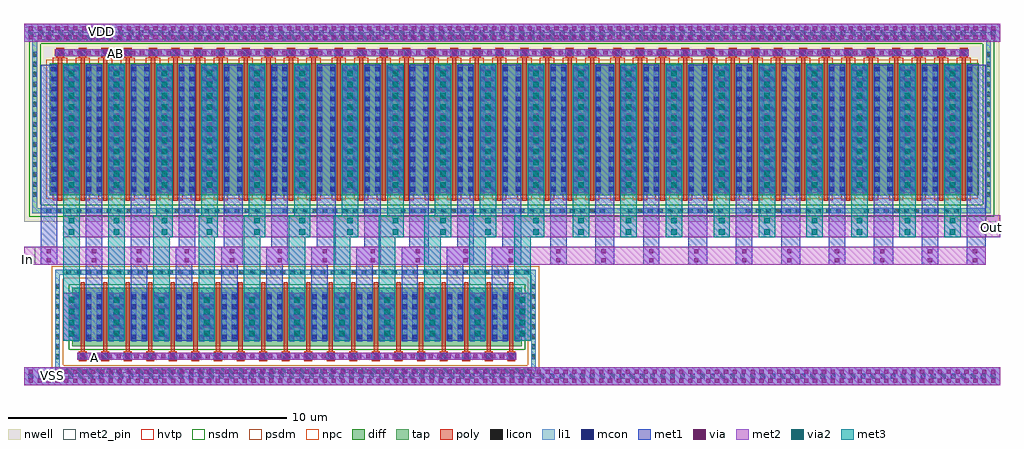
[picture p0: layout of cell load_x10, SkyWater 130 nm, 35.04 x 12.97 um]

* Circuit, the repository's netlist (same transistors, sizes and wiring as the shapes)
** sch_path: /foss/designs/RO_Aging_UNICASS/HVT/load_x10/load_x10.sch
.subckt load_x10 AB VDD Out In VSS A
*.PININFO In:B Out:B VDD:B VSS:B AB:B A:B
M1 In A Out VSS sky130_fd_pr__nfet_01v8 L=0.15 W=2.1 nf=1 ad='int((nf+1)/2) * W/nf * 0.29' as='int((nf+2)/2) * W/nf * 0.29' pd='2*int((nf+1)/2) * (W/nf + 0.29)'
+ ps='2*int((nf+2)/2) * (W/nf + 0.29)' nrd='0.29 / W' nrs='0.29 / W' sa=0 sb=0 sd=0 mult=20 m=20
M2 In AB Out VDD sky130_fd_pr__pfet_01v8_hvt L=0.15 W=4.75 nf=1 ad='int((nf+1)/2) * W/nf * 0.29' as='int((nf+2)/2) * W/nf * 0.29' pd='2*int((nf+1)/2) * (W/nf + 0.29)'
+ ps='2*int((nf+2)/2) * (W/nf + 0.29)' nrd='0.29 / W' nrs='0.29 / W' sa=0 sb=0 sd=0 mult=40 m=40
.ends
.end

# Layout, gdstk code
from math import pi, radians
import gdstk
lib = gdstk.Library(unit=1e-6, precision=1e-09)
def R(c, l, rs):  # rectangles x0, y0, x1, y1
    for r in rs: c.add(gdstk.rectangle(r[:2], r[2:], *l))
def A(c, l, x, y, w, h, nx, ny, dx, dy):  # array of equal rectangles
    R(c, l, [(x+i*dx, y+j*dy, x+i*dx+w, y+j*dy+h) for i in range(nx) for j in range(ny)])
nwell = (64, 20)
diff = (65, 20)
tap = (65, 44)
poly = (66, 20)
licon = (66, 44)
li1 = (67, 20)
mcon = (67, 44)
met1 = (68, 20)
via = (68, 44)
met2_pin = (69, 16)
met2 = (69, 20)
via2 = (69, 44)
met3 = (70, 20)
hvtp = (78, 44)
nsdm = (93, 44)
psdm = (94, 20)
npc = (95, 20)

vias_gen_9 = lib.new_cell('vias_gen$9')
R(vias_gen_9, li1, [(0,0,35.04,0.64)])
A(vias_gen_9, mcon, 0.155, 0.235, 0.17, 0.17, 97, 1, 0.36, 0)
R(vias_gen_9, met1, [(0,0,35.04,0.64)])
A(vias_gen_9, via, 0.165, 0.085, 0.15, 0.15, 109, 2, 0.32, 0.32)
R(vias_gen_9, met2, [(0,0,35.04,0.64)])

vias_gen_8 = lib.new_cell('vias_gen$8')
R(vias_gen_8, met1, [(0,0,15.76,0.26)])
A(vias_gen_8, via, 0.125, 0.055, 0.15, 0.15, 49, 1, 0.32, 0)
R(vias_gen_8, met2, [(0,0,15.76,0.26)])

pfet_1 = lib.new_cell('pfet$1')
R(pfet_1, nwell, [(-0.305,-0.38,1.055,5.47)])
R(pfet_1, diff, [(0,0,0.75,4.75)])
R(pfet_1, poly, [(0.3,-0.2,0.45,4.95), (0.24,4.95,0.51,5.28)])
A(pfet_1, licon, 0.065, 0.13, 0.17, 0.17, 1, 13, 0, 0.36)
A(pfet_1, licon, 0.515, 0.13, 0.17, 0.17, 1, 13, 0, 0.36)
R(pfet_1, licon, [(0.29,5.03,0.46,5.2)])
R(pfet_1, li1, [(0.065,0.05,0.235,4.7), (0.515,0.05,0.685,4.7), (0.21,5.03,0.54,5.2)])
A(pfet_1, mcon, 0.065, 0.13, 0.17, 0.17, 1, 13, 0, 0.36)
A(pfet_1, mcon, 0.515, 0.13, 0.17, 0.17, 1, 13, 0, 0.36)
R(pfet_1, mcon, [(0.29,5.03,0.46,5.2)])
R(pfet_1, met1, [(0.035,0.07,0.265,4.68), (0.485,0.07,0.715,4.68), (0.19,5,0.56,5.23)])
R(pfet_1, hvtp, [(0.12,-0.18,0.63,4.93)])
R(pfet_1, psdm, [(-0.125,-0.125,0.875,4.875)])
R(pfet_1, npc, [(0.23,4.94,0.52,5.29)])

vias_gen_7 = lib.new_cell('vias_gen$7')
R(vias_gen_7, met1, [(0,0,32.815,0.26)])
A(vias_gen_7, via, 0.17, 0.055, 0.15, 0.15, 102, 1, 0.32, 0)
R(vias_gen_7, met2, [(0,0,32.815,0.26)])

pfet = lib.new_cell('pfet')
R(pfet, nwell, [(-0.305,-0.38,1.055,5.47)])
R(pfet, diff, [(0,0,0.75,4.75)])
R(pfet, poly, [(0.3,-0.2,0.45,4.95), (0.24,4.95,0.51,5.28)])
A(pfet, licon, 0.065, 0.13, 0.17, 0.17, 1, 13, 0, 0.36)
A(pfet, licon, 0.515, 0.13, 0.17, 0.17, 1, 13, 0, 0.36)
R(pfet, licon, [(0.29,5.03,0.46,5.2)])
R(pfet, li1, [(0.065,0.05,0.235,4.7), (0.515,0.05,0.685,4.7), (0.21,5.03,0.54,5.2)])
A(pfet, mcon, 0.065, 0.13, 0.17, 0.17, 1, 13, 0, 0.36)
A(pfet, mcon, 0.515, 0.13, 0.17, 0.17, 1, 13, 0, 0.36)
R(pfet, mcon, [(0.29,5.03,0.46,5.2)])
R(pfet, met1, [(0.035,0.07,0.265,4.68), (0.485,0.07,0.715,4.68), (0.19,5,0.56,5.23)])
R(pfet, psdm, [(-0.125,-0.125,0.875,4.875)])
R(pfet, npc, [(0.23,4.94,0.52,5.29)])

vias_gen_5 = lib.new_cell('vias_gen$5')
R(vias_gen_5, met1, [(0,0,0.59,0.66)])
R(vias_gen_5, via, [(0.22,0.095,0.37,0.245), (0.22,0.415,0.37,0.565)])
R(vias_gen_5, met2, [(0,0,0.59,0.66)])

nfet = lib.new_cell('nfet')
R(nfet, diff, [(0,0,0.75,2.1)])
R(nfet, poly, [(0.24,-0.53,0.51,-0.2), (0.3,-0.2,0.45,2.3)])
A(nfet, licon, 0.065, 0.245, 0.17, 0.17, 1, 5, 0, 0.36)
A(nfet, licon, 0.515, 0.245, 0.17, 0.17, 1, 5, 0, 0.36)
R(nfet, licon, [(0.29,-0.45,0.46,-0.28)])
R(nfet, li1, [(0.21,-0.45,0.54,-0.28), (0.065,0.165,0.235,1.935), (0.515,0.165,0.685,1.935)])
A(nfet, mcon, 0.065, 0.245, 0.17, 0.17, 1, 5, 0, 0.36)
A(nfet, mcon, 0.515, 0.245, 0.17, 0.17, 1, 5, 0, 0.36)
R(nfet, mcon, [(0.29,-0.45,0.46,-0.28)])
R(nfet, met1, [(0.19,-0.48,0.56,-0.25), (0.035,0.185,0.265,1.915), (0.485,0.185,0.715,1.915)])
R(nfet, nsdm, [(-0.125,-0.125,0.875,2.225)])
R(nfet, npc, [(0.23,-0.54,0.52,-0.19)])

vias_gen_6 = lib.new_cell('vias_gen$6')
R(vias_gen_6, met1, [(0,0,4.61,0.59)])
A(vias_gen_6, via, 0.15, 0.22, 0.15, 0.15, 14, 1, 0.32, 0)
R(vias_gen_6, met2, [(0,0,4.61,0.59)])
A(vias_gen_6, via2, 0.205, 0.195, 0.2, 0.2, 11, 1, 0.4, 0)
R(vias_gen_6, met3, [(0,0,4.61,0.59)])

vias_gen_2 = lib.new_cell('vias_gen$2')
R(vias_gen_2, met1, [(0,0,1.73,0.59)])
A(vias_gen_2, via, 0.15, 0.22, 0.15, 0.15, 5, 1, 0.32, 0)
R(vias_gen_2, met2, [(0,0,1.73,0.59)])
A(vias_gen_2, via2, 0.165, 0.195, 0.2, 0.2, 4, 1, 0.4, 0)
R(vias_gen_2, met3, [(0,0,1.73,0.59)])

vias_gen = lib.new_cell('vias_gen')
R(vias_gen, met2, [(0,0,0.59,0.8)])
R(vias_gen, via2, [(0.195,0.1,0.395,0.3), (0.195,0.5,0.395,0.7)])
R(vias_gen, met3, [(0,0,0.59,0.8)])

load_x10 = lib.new_cell('load_x10')
R(load_x10, nwell, [(4.425,0.735,8.965,7.715), (4.425,0.735,39.44,7.715), (38.96,0.735,39.44,7.715)])
A(load_x10, diff, 6.095, 1.68, 0.155, 4.75, 4, 1, 0.81, 0)
A(load_x10, diff, 9.43, 1.68, 0.155, 4.75, 4, 1, 0.81, 0)
A(load_x10, diff, 12.765, 1.68, 0.155, 4.75, 4, 1, 0.81, 0)
A(load_x10, diff, 16.1, 1.68, 0.155, 4.75, 4, 1, 0.81, 0)
A(load_x10, diff, 22.77, 1.68, 0.155, 4.75, 4, 1, 0.81, 0)
A(load_x10, diff, 26.105, 1.68, 0.155, 4.75, 4, 1, 0.81, 0)
A(load_x10, diff, 29.44, 1.68, 0.155, 4.75, 4, 1, 0.81, 0)
R(load_x10, diff, [(6.905,-3.735,6.965,-1.635), (7.715,-3.735,7.775,-1.635), (7.715,-3.735,7.775,-1.635), (8.525,-3.735,8.585,-1.635), (8.525,-3.735,8.585,-1.635), (9.335,-3.735,9.395,-1.635), (9.335,-3.735,9.395,-1.635), (10.145,-3.735,10.205,-1.635), (10.145,-3.735,10.205,-1.635), (10.955,-3.735,11.015,-1.635), (10.955,-3.735,11.015,-1.635), (11.765,-3.735,11.825,-1.635), (11.765,-3.735,11.825,-1.635), (12.575,-3.735,12.635,-1.635), (12.575,-3.735,12.635,-1.635), (13.385,-3.735,13.445,-1.635), (13.385,-3.735,13.445,-1.635), (14.195,-3.735,14.255,-1.635), (14.195,-3.735,14.255,-1.635), (15.005,-3.735,15.065,-1.635), (15.005,-3.735,15.065,-1.635), (15.815,-3.735,15.875,-1.635), (15.815,-3.735,15.875,-1.635), (16.625,-3.735,16.685,-1.635), (16.625,-3.735,16.685,-1.635), (17.435,-3.735,17.495,-1.635), (17.435,-3.735,17.495,-1.635), (18.245,-3.735,18.305,-1.635), (18.245,-3.735,18.305,-1.635), (19.055,-3.735,19.115,-1.635), (19.055,-3.735,19.115,-1.635), (19.055,-3.735,19.115,-1.635), (19.055,-3.735,19.115,-1.635), (19.865,-3.735,19.925,-1.635), (19.865,-3.735,19.925,-1.635), (19.865,-3.735,19.925,-1.635), (19.865,-3.735,19.925,-1.635), (20.675,-3.735,20.735,-1.635), (20.675,-3.735,20.735,-1.635), (20.675,-3.735,20.735,-1.635), (20.675,-3.735,20.735,-1.635), (21.485,-3.735,21.545,-1.635), (21.485,-3.735,21.545,-1.635), (21.485,-3.735,21.545,-1.635), (21.485,-3.735,21.545,-1.635), (18.53,1.68,18.685,6.43), (18.53,1.68,18.685,6.43), (18.53,1.68,18.685,6.43), (19.435,1.68,19.59,6.43), (19.435,1.68,19.59,6.43), (19.435,1.68,19.59,6.43), (19.435,1.68,19.59,6.43), (20.245,1.68,20.4,6.43), (20.245,1.68,20.4,6.43), (20.245,1.68,20.4,6.43), (20.245,1.68,20.4,6.43), (21.055,1.68,21.21,6.43), (21.055,1.68,21.21,6.43), (21.055,1.68,21.21,6.43), (21.055,1.68,21.21,6.43), (21.865,1.68,22.02,6.43), (21.865,1.68,22.02,6.43), (21.865,1.68,22.02,6.43), (21.865,1.68,22.02,6.43), (31.87,1.68,32.025,6.43), (31.87,1.68,32.025,6.43), (31.87,1.68,32.025,6.43), (32.775,1.68,32.93,6.43), (32.775,1.68,32.93,6.43), (32.775,1.68,32.93,6.43), (32.775,1.68,32.93,6.43), (33.585,1.68,33.74,6.43), (33.585,1.68,33.74,6.43), (33.585,1.68,33.74,6.43), (33.585,1.68,33.74,6.43), (34.395,1.68,34.55,6.43), (34.395,1.68,34.55,6.43), (34.395,1.68,34.55,6.43), (34.395,1.68,34.55,6.43), (35.205,1.68,35.36,6.43), (35.205,1.68,35.36,6.43), (35.205,1.68,35.36,6.43), (35.205,1.68,35.36,6.43), (35.205,1.68,35.36,6.43), (35.205,1.68,35.36,6.43), (35.205,1.68,35.36,6.43), (35.205,1.68,35.36,6.43), (36.11,1.68,36.265,6.43), (36.11,1.68,36.265,6.43), (36.11,1.68,36.265,6.43), (36.11,1.68,36.265,6.43), (36.92,1.68,37.075,6.43), (36.92,1.68,37.075,6.43), (36.92,1.68,37.075,6.43), (36.92,1.68,37.075,6.43), (37.73,1.68,37.885,6.43), (37.73,1.68,37.885,6.43), (37.73,1.68,37.885,6.43), (37.73,1.68,37.885,6.43), (38.54,1.68,38.695,6.43), (38.54,1.68,38.695,6.43), (38.54,1.68,38.695,6.43), (38.54,1.68,38.695,6.43)])
A(load_x10, tap, 5.71, -4.715, 2.45, 0.17, 4, 2, 2.2, 3.55)
A(load_x10, tap, 13.75, -4.715, 2.45, 0.17, 4, 2, 2.2, 3.55)
A(load_x10, tap, 4.73, 1.04, 4.24, 0.17, 4, 2, 4.24, 6.2)
A(load_x10, tap, 4.9, 1.04, 3.59, 0.17, 4, 2, 4.24, 6.2)
A(load_x10, tap, 21.36, 1.04, 4.24, 0.17, 4, 2, 4.24, 6.2)
A(load_x10, tap, 21.53, 1.04, 3.59, 0.17, 4, 2, 4.24, 6.2)
R(load_x10, tap, [(5.54,-4.715,5.71,-0.995), (5.71,-4.715,8.16,-4.545), (22.63,-4.715,22.8,-0.995), (4.73,1.04,4.9,7.24), (34.08,1.04,38.32,1.21), (34.25,1.04,37.84,1.21), (38.32,1.04,38.965,1.21), (38.965,1.04,39.135,7.24), (4.73,7.24,9.14,7.41), (34.08,7.24,38.32,7.41), (34.25,7.24,37.84,7.41), (38.32,7.24,38.965,7.41)])
A(load_x10, licon, 8.15, -4.715, 0.17, 0.17, 6, 2, 0.36, 3.55)
A(load_x10, licon, 10.35, -4.715, 0.17, 0.17, 6, 2, 0.36, 3.55)
A(load_x10, licon, 12.55, -4.715, 0.17, 0.17, 5, 2, 0.36, 3.55)
A(load_x10, licon, 14.35, -4.715, 0.17, 0.17, 5, 2, 0.36, 3.55)
A(load_x10, licon, 16.19, -4.715, 0.17, 0.17, 6, 2, 0.36, 3.55)
A(load_x10, licon, 18.39, -4.715, 0.17, 0.17, 6, 2, 0.36, 3.55)
A(load_x10, licon, 20.59, -4.715, 0.17, 0.17, 6, 2, 0.36, 3.55)
A(load_x10, licon, 5.54, -4.2, 0.17, 0.17, 1, 8, 0, 0.36)
A(load_x10, licon, 22.63, -4.2, 0.17, 0.17, 1, 8, 0, 0.36)
A(load_x10, licon, 5.95, -1.165, 0.17, 0.17, 6, 1, 0.36, 0)
A(load_x10, licon, 5.23, 1.04, 0.17, 0.17, 10, 1, 0.36, 0)
A(load_x10, licon, 9.47, 1.04, 0.17, 0.17, 10, 2, 0.36, 6.2)
A(load_x10, licon, 13.71, 1.04, 0.17, 0.17, 10, 2, 0.36, 6.2)
A(load_x10, licon, 17.95, 1.04, 0.17, 0.17, 10, 2, 0.36, 6.2)
A(load_x10, licon, 21.86, 1.04, 0.17, 0.17, 10, 2, 0.36, 6.2)
A(load_x10, licon, 26.1, 1.04, 0.17, 0.17, 10, 2, 0.36, 6.2)
A(load_x10, licon, 30.34, 1.04, 0.17, 0.17, 10, 2, 0.36, 6.2)
A(load_x10, licon, 4.73, 1.62, 0.17, 0.17, 1, 15, 0, 0.36)
A(load_x10, licon, 38.965, 1.62, 0.17, 0.17, 1, 15, 0, 0.36)
R(load_x10, licon, [(5.95,-4.715,6.12,-4.545), (5.95,-4.715,6.12,-4.545), (6.31,-4.715,6.48,-4.545), (6.31,-4.715,6.48,-4.545), (6.67,-4.715,6.84,-4.545), (6.67,-4.715,6.84,-4.545), (7.03,-4.715,7.2,-4.545), (7.03,-4.715,7.2,-4.545), (7.39,-4.715,7.56,-4.545), (7.39,-4.715,7.56,-4.545), (7.75,-4.715,7.92,-4.545), (7.75,-4.715,7.92,-4.545), (13.99,-4.715,14.16,-4.545), (14.35,-4.715,14.52,-4.545), (13.99,-1.165,14.16,-0.995), (14.35,-1.165,14.52,-0.995), (34.58,1.04,34.75,1.21), (34.58,1.04,34.75,1.21), (34.94,1.04,35.11,1.21), (34.94,1.04,35.11,1.21), (35.3,1.04,35.47,1.21), (35.3,1.04,35.47,1.21), (35.66,1.04,35.83,1.21), (35.66,1.04,35.83,1.21), (36.02,1.04,36.19,1.21), (36.02,1.04,36.19,1.21), (36.38,1.04,36.55,1.21), (36.38,1.04,36.55,1.21), (36.74,1.04,36.91,1.21), (36.74,1.04,36.91,1.21), (37.1,1.04,37.27,1.21), (37.1,1.04,37.27,1.21), (37.46,1.04,37.63,1.21), (37.46,1.04,37.63,1.21), (37.82,1.04,37.99,1.21), (37.82,1.04,37.99,1.21), (5.23,7.24,5.4,7.41), (5.23,7.24,5.4,7.41), (5.59,7.24,5.76,7.41), (5.59,7.24,5.76,7.41), (5.95,7.24,6.12,7.41), (5.95,7.24,6.12,7.41), (6.31,7.24,6.48,7.41), (6.31,7.24,6.48,7.41), (6.67,7.24,6.84,7.41), (6.67,7.24,6.84,7.41), (7.03,7.24,7.2,7.41), (7.03,7.24,7.2,7.41), (7.39,7.24,7.56,7.41), (7.39,7.24,7.56,7.41), (7.75,7.24,7.92,7.41), (7.75,7.24,7.92,7.41), (8.11,7.24,8.28,7.41), (8.11,7.24,8.28,7.41), (8.47,7.24,8.64,7.41), (8.47,7.24,8.64,7.41), (34.58,7.24,34.75,7.41), (34.58,7.24,34.75,7.41), (34.94,7.24,35.11,7.41), (34.94,7.24,35.11,7.41), (35.3,7.24,35.47,7.41), (35.3,7.24,35.47,7.41), (35.66,7.24,35.83,7.41), (35.66,7.24,35.83,7.41), (36.02,7.24,36.19,7.41), (36.02,7.24,36.19,7.41), (36.38,7.24,36.55,7.41), (36.38,7.24,36.55,7.41), (36.74,7.24,36.91,7.41), (36.74,7.24,36.91,7.41), (37.1,7.24,37.27,7.41), (37.1,7.24,37.27,7.41), (37.46,7.24,37.63,7.41), (37.46,7.24,37.63,7.41), (37.82,7.24,37.99,7.41), (37.82,7.24,37.99,7.41)])
A(load_x10, li1, 5.71, -4.715, 2.45, 0.17, 4, 2, 2.2, 3.55)
A(load_x10, li1, 13.75, -4.715, 2.45, 0.17, 4, 2, 2.2, 3.55)
A(load_x10, li1, 4.73, 1.04, 4.24, 0.17, 4, 2, 4.24, 6.2)
A(load_x10, li1, 21.36, 1.04, 4.24, 0.17, 4, 2, 4.24, 6.2)
R(load_x10, li1, [(5.54,-4.715,5.71,-0.995), (5.71,-4.715,8.16,-4.545), (22.63,-4.715,22.8,-0.995), (4.73,1.04,4.9,7.24), (34.08,1.04,38.32,1.21), (38.32,1.04,39.135,1.21), (38.965,1.04,39.135,7.24), (4.73,7.24,9.14,7.41), (34.08,7.24,38.32,7.41), (38.32,7.24,39.135,7.41)])
A(load_x10, met1, 8.26, -1.82, 0.59, 1.66, 9, 1, 1.62, 0)
A(load_x10, met1, 8.26, -0.82, 0.685, 2.57, 10, 1, 3.335, 0)
A(load_x10, met1, 18.265, -0.82, 0.455, 2.57, 7, 1, 3.335, 0)
A(load_x10, met1, 16.645, -0.16, 0.59, 1.91, 7, 1, 3.335, 0)
A(load_x10, met1, 6.06, 1.75, 0.13, 4.61, 3, 1, 0.81, 0)
A(load_x10, met1, 9.395, 1.75, 0.13, 4.61, 3, 1, 0.81, 0)
A(load_x10, met1, 12.73, 1.75, 0.13, 4.61, 3, 1, 0.81, 0)
A(load_x10, met1, 16.065, 1.75, 0.13, 4.61, 3, 1, 0.81, 0)
A(load_x10, met1, 22.735, 1.75, 0.13, 4.61, 3, 1, 0.81, 0)
A(load_x10, met1, 26.07, 1.75, 0.13, 4.61, 3, 1, 0.81, 0)
A(load_x10, met1, 29.405, 1.75, 0.13, 4.61, 3, 1, 0.81, 0)
R(load_x10, met1, [(6.345,-4.215,22.105,-3.985), (6.87,-3.55,7,-1.82), (8.49,-3.55,8.62,-1.82), (8.49,-3.55,8.62,-1.82), (10.11,-3.55,10.24,-1.82), (10.11,-3.55,10.24,-1.82), (11.73,-3.55,11.86,-1.82), (11.73,-3.55,11.86,-1.82), (13.35,-3.55,13.48,-1.82), (13.35,-3.55,13.48,-1.82), (14.97,-3.55,15.1,-1.82), (14.97,-3.55,15.1,-1.82), (16.59,-3.55,16.72,-1.82), (16.59,-3.55,16.72,-1.82), (18.21,-3.55,18.34,-1.82), (18.21,-3.55,18.34,-1.82), (19.83,-3.55,19.96,-1.82), (19.83,-3.55,19.96,-1.82), (19.83,-3.55,19.96,-1.82), (19.83,-3.55,19.96,-1.82), (21.45,-3.55,21.58,-1.82), (21.45,-3.55,21.58,-1.82), (21.45,-3.55,21.58,-1.82), (21.45,-3.55,21.58,-1.82), (6.64,-1.82,7.23,-0.16), (8.26,-1.82,8.85,-0.16), (5.02,-0.82,5.165,-0.16), (8.26,-0.82,8.715,1.75), (13.31,-0.82,13.765,1.75), (13.31,-0.82,13.9,1.75), (5.02,-0.16,5.61,1.75), (5.155,-0.16,5.61,1.75), (6.64,-0.16,7.23,1.75), (9.975,-0.16,10.565,1.75), (11.595,-0.16,12.185,1.75), (14.93,-0.16,15.52,1.75), (5.02,1.75,5.61,6.36), (5.155,1.75,5.61,6.36), (8.26,1.75,8.715,6.36), (8.49,1.75,8.945,6.36), (11.595,1.75,12.05,6.36), (11.825,1.75,12.28,6.36), (14.93,1.75,15.385,6.36), (15.16,1.75,15.615,6.36), (18.265,1.75,18.72,6.36), (18.495,1.75,18.95,6.36), (18.495,1.75,18.95,6.36), (18.495,1.75,18.95,6.36), (18.495,1.75,18.95,6.36), (19.4,1.75,19.53,6.36), (19.4,1.75,19.53,6.36), (19.4,1.75,19.53,6.36), (19.4,1.75,19.53,6.36), (20.21,1.75,20.34,6.36), (20.21,1.75,20.34,6.36), (20.21,1.75,20.34,6.36), (20.21,1.75,20.34,6.36), (21.02,1.75,21.15,6.36), (21.02,1.75,21.15,6.36), (21.02,1.75,21.15,6.36), (21.02,1.75,21.15,6.36), (21.6,1.75,22.055,6.36), (21.6,1.75,22.055,6.36), (21.6,1.75,22.055,6.36), (21.6,1.75,22.055,6.36), (21.83,1.75,22.285,6.36), (24.935,1.75,25.39,6.36), (25.165,1.75,25.62,6.36), (28.27,1.75,28.725,6.36), (28.5,1.75,28.955,6.36), (31.605,1.75,32.06,6.36), (31.835,1.75,32.29,6.36), (31.835,1.75,32.29,6.36), (31.835,1.75,32.29,6.36), (31.835,1.75,32.29,6.36), (32.74,1.75,32.87,6.36), (32.74,1.75,32.87,6.36), (32.74,1.75,32.87,6.36), (32.74,1.75,32.87,6.36), (33.55,1.75,33.68,6.36), (33.55,1.75,33.68,6.36), (33.55,1.75,33.68,6.36), (33.55,1.75,33.68,6.36), (34.36,1.75,34.49,6.36), (34.36,1.75,34.49,6.36), (34.36,1.75,34.49,6.36), (34.36,1.75,34.49,6.36), (34.94,1.75,35.395,6.36), (34.94,1.75,35.395,6.36), (34.94,1.75,35.395,6.36), (34.94,1.75,35.395,6.36), (34.94,1.75,35.395,6.36), (35.17,1.75,35.625,6.36), (35.17,1.75,35.625,6.36), (35.17,1.75,35.625,6.36), (35.17,1.75,35.625,6.36), (36.075,1.75,36.205,6.36), (36.075,1.75,36.205,6.36), (36.075,1.75,36.205,6.36), (36.075,1.75,36.205,6.36), (36.885,1.75,37.015,6.36), (36.885,1.75,37.015,6.36), (36.885,1.75,37.015,6.36), (36.885,1.75,37.015,6.36), (37.695,1.75,37.825,6.36), (37.695,1.75,37.825,6.36), (37.695,1.75,37.825,6.36), (37.695,1.75,37.825,6.36), (38.275,1.75,38.73,6.36), (38.275,1.75,38.73,6.36), (38.275,1.75,38.73,6.36), (38.275,1.75,38.73,6.36), (38.695,1.75,38.96,6.36), (5.535,6.68,38.35,6.91)])
R(load_x10, met2_pin, [(4.425,-5.135,39.465,-4.495), (6.345,-4.23,22.105,-3.97), (4.425,-0.82,4.835,-0.16), (38.96,0.17,39.465,0.97), (5.535,6.665,38.35,6.925), (4.425,7.195,39.465,7.835)])
R(load_x10, met2, [(4.425,-0.82,8.26,-0.16), (4.425,-0.82,38.96,-0.16), (5.83,0.17,9.445,0.97), (9.17,0.17,12.785,0.97), (12.5,0.17,16.115,0.97), (15.84,0.17,19.455,0.97), (19.17,0.17,22.785,0.97), (22.51,0.17,26.125,0.97), (25.84,0.17,29.455,0.97), (29.18,0.17,32.795,0.97), (32.51,0.17,36.125,0.97), (35.85,0.17,39.465,0.97)])
A(load_x10, met3, 7.45, -2.16, 0.59, 2.33, 4, 1, 3.24, 0)
A(load_x10, met3, 7.45, -1.875, 0.59, 2.845, 10, 1, 1.62, 0)
R(load_x10, met3, [(5.83,-2.16,6.42,0.17), (7.45,-2.16,8.04,0.17), (5.83,0.97,6.42,2.09), (7.45,0.97,8.04,2.09), (9.17,0.97,9.76,2.09), (9.17,0.97,9.76,2.09), (10.79,0.97,11.38,2.09), (10.79,0.97,11.38,2.09), (12.5,0.97,13.09,2.09), (14.12,0.97,14.71,2.09), (15.84,0.97,16.43,2.09), (15.84,0.97,16.43,2.09), (17.46,0.97,18.05,2.09), (17.46,0.97,18.05,2.09), (19.17,0.97,19.76,2.09), (20.79,0.97,21.38,2.09), (22.51,0.97,23.1,2.09), (22.51,0.97,23.1,2.09), (24.13,0.97,24.72,2.09), (24.13,0.97,24.72,2.09), (25.84,0.97,26.43,2.09), (27.46,0.97,28.05,2.09), (29.18,0.97,29.77,2.09), (29.18,0.97,29.77,2.09), (30.8,0.97,31.39,2.09), (30.8,0.97,31.39,2.09), (32.51,0.97,33.1,2.09), (34.13,0.97,34.72,2.09), (35.85,0.97,36.44,2.09), (35.85,0.97,36.44,2.09), (37.47,0.97,38.06,2.09), (37.47,0.97,38.06,2.09)])
A(load_x10, nsdm, 4.605, 0.915, 4.665, 0.42, 4, 2, 4.24, 6.2)
A(load_x10, nsdm, 21.235, 0.915, 4.665, 0.42, 4, 2, 4.24, 6.2)
R(load_x10, nsdm, [(33.955,0.915,38.62,1.335), (38.62,0.915,39.265,1.335), (4.605,1.335,5.025,7.115), (38.845,1.335,39.265,7.115), (4.605,7.115,9.27,7.535), (33.955,7.115,38.62,7.535), (38.62,7.115,39.265,7.535)])
A(load_x10, psdm, 5.835, -4.84, 2.2, 0.42, 4, 2, 2.2, 3.55)
A(load_x10, psdm, 13.875, -4.84, 2.2, 0.42, 4, 2, 2.2, 3.55)
R(load_x10, psdm, [(5.415,-4.84,5.835,-0.87), (5.835,-4.84,8.035,-4.42), (22.505,-4.84,22.925,-0.87)])
load_x10.add(gdstk.Reference(vias_gen_9, (4.425,-5.135)))
load_x10.add(gdstk.Reference(vias_gen_8, (6.345,-4.23)))
load_x10.add(gdstk.Reference(vias_gen_9, (4.425,7.195)))
load_x10.add(gdstk.Reference(pfet_1, (8.525,1.68), rotation=pi, x_reflection=True))
load_x10.add(gdstk.Reference(pfet_1, (7.715,1.68), rotation=pi, x_reflection=True))
load_x10.add(gdstk.Reference(pfet_1, (6.905,1.68), rotation=pi, x_reflection=True))
load_x10.add(gdstk.Reference(pfet_1, (6.095,1.68), rotation=pi, x_reflection=True))
load_x10.add(gdstk.Reference(vias_gen_7, (5.535,6.665)))
load_x10.add(gdstk.Reference(pfet_1, (11.86,1.68), rotation=pi, x_reflection=True))
load_x10.add(gdstk.Reference(pfet_1, (11.05,1.68), rotation=pi, x_reflection=True))
load_x10.add(gdstk.Reference(pfet_1, (10.24,1.68), rotation=pi, x_reflection=True))
load_x10.add(gdstk.Reference(pfet_1, (9.43,1.68), rotation=pi, x_reflection=True))
load_x10.add(gdstk.Reference(pfet_1, (15.195,1.68), rotation=pi, x_reflection=True))
load_x10.add(gdstk.Reference(pfet_1, (14.385,1.68), rotation=pi, x_reflection=True))
load_x10.add(gdstk.Reference(pfet_1, (13.575,1.68), rotation=pi, x_reflection=True))
load_x10.add(gdstk.Reference(pfet_1, (12.765,1.68), rotation=pi, x_reflection=True))
load_x10.add(gdstk.Reference(pfet_1, (18.53,1.68), rotation=pi, x_reflection=True))
load_x10.add(gdstk.Reference(pfet_1, (17.72,1.68), rotation=pi, x_reflection=True))
load_x10.add(gdstk.Reference(pfet_1, (16.91,1.68), rotation=pi, x_reflection=True))
load_x10.add(gdstk.Reference(pfet_1, (16.1,1.68), rotation=pi, x_reflection=True))
load_x10.add(gdstk.Reference(pfet, (21.865,1.68), rotation=pi, x_reflection=True))
load_x10.add(gdstk.Reference(pfet, (21.055,1.68), rotation=pi, x_reflection=True))
load_x10.add(gdstk.Reference(pfet, (20.245,1.68), rotation=pi, x_reflection=True))
load_x10.add(gdstk.Reference(pfet_1, (19.435,1.68), rotation=pi, x_reflection=True))
load_x10.add(gdstk.Reference(pfet, (20.245,1.68), rotation=pi, x_reflection=True))
load_x10.add(gdstk.Reference(pfet, (21.055,1.68), rotation=pi, x_reflection=True))
load_x10.add(gdstk.Reference(pfet, (21.865,1.68), rotation=pi, x_reflection=True))
load_x10.add(gdstk.Reference(pfet, (21.865,1.68), rotation=pi, x_reflection=True))
load_x10.add(gdstk.Reference(pfet, (21.055,1.68), rotation=pi, x_reflection=True))
load_x10.add(gdstk.Reference(pfet, (20.245,1.68), rotation=pi, x_reflection=True))
load_x10.add(gdstk.Reference(pfet_1, (20.245,1.68), rotation=pi, x_reflection=True))
load_x10.add(gdstk.Reference(pfet_1, (21.055,1.68), rotation=pi, x_reflection=True))
load_x10.add(gdstk.Reference(pfet_1, (21.865,1.68), rotation=pi, x_reflection=True))
load_x10.add(gdstk.Reference(pfet_1, (25.2,1.68), rotation=pi, x_reflection=True))
load_x10.add(gdstk.Reference(pfet_1, (24.39,1.68), rotation=pi, x_reflection=True))
load_x10.add(gdstk.Reference(pfet_1, (23.58,1.68), rotation=pi, x_reflection=True))
load_x10.add(gdstk.Reference(pfet_1, (22.77,1.68), rotation=pi, x_reflection=True))
load_x10.add(gdstk.Reference(pfet_1, (28.535,1.68), rotation=pi, x_reflection=True))
load_x10.add(gdstk.Reference(pfet_1, (27.725,1.68), rotation=pi, x_reflection=True))
load_x10.add(gdstk.Reference(pfet_1, (26.915,1.68), rotation=pi, x_reflection=True))
load_x10.add(gdstk.Reference(pfet_1, (26.105,1.68), rotation=pi, x_reflection=True))
load_x10.add(gdstk.Reference(pfet_1, (31.87,1.68), rotation=pi, x_reflection=True))
load_x10.add(gdstk.Reference(pfet_1, (31.06,1.68), rotation=pi, x_reflection=True))
load_x10.add(gdstk.Reference(pfet_1, (30.25,1.68), rotation=pi, x_reflection=True))
load_x10.add(gdstk.Reference(pfet_1, (29.44,1.68), rotation=pi, x_reflection=True))
load_x10.add(gdstk.Reference(pfet, (35.205,1.68), rotation=pi, x_reflection=True))
load_x10.add(gdstk.Reference(pfet, (34.395,1.68), rotation=pi, x_reflection=True))
load_x10.add(gdstk.Reference(pfet, (33.585,1.68), rotation=pi, x_reflection=True))
load_x10.add(gdstk.Reference(pfet_1, (32.775,1.68), rotation=pi, x_reflection=True))
load_x10.add(gdstk.Reference(pfet, (33.585,1.68), rotation=pi, x_reflection=True))
load_x10.add(gdstk.Reference(pfet, (34.395,1.68), rotation=pi, x_reflection=True))
load_x10.add(gdstk.Reference(pfet, (35.205,1.68), rotation=pi, x_reflection=True))
load_x10.add(gdstk.Reference(pfet, (35.205,1.68), rotation=pi, x_reflection=True))
load_x10.add(gdstk.Reference(pfet, (34.395,1.68), rotation=pi, x_reflection=True))
load_x10.add(gdstk.Reference(pfet, (33.585,1.68), rotation=pi, x_reflection=True))
load_x10.add(gdstk.Reference(pfet_1, (33.585,1.68), rotation=pi, x_reflection=True))
load_x10.add(gdstk.Reference(pfet_1, (34.395,1.68), rotation=pi, x_reflection=True))
load_x10.add(gdstk.Reference(pfet_1, (35.205,1.68), rotation=pi, x_reflection=True))
load_x10.add(gdstk.Reference(pfet, (38.54,1.68), rotation=pi, x_reflection=True))
load_x10.add(gdstk.Reference(pfet, (37.73,1.68), rotation=pi, x_reflection=True))
load_x10.add(gdstk.Reference(pfet, (36.92,1.68), rotation=pi, x_reflection=True))
load_x10.add(gdstk.Reference(pfet_1, (36.11,1.68), rotation=pi, x_reflection=True))
load_x10.add(gdstk.Reference(pfet, (36.92,1.68), rotation=pi, x_reflection=True))
load_x10.add(gdstk.Reference(pfet, (37.73,1.68), rotation=pi, x_reflection=True))
load_x10.add(gdstk.Reference(pfet, (38.54,1.68), rotation=pi, x_reflection=True))
load_x10.add(gdstk.Reference(pfet, (38.54,1.68), rotation=pi, x_reflection=True))
load_x10.add(gdstk.Reference(pfet, (37.73,1.68), rotation=pi, x_reflection=True))
load_x10.add(gdstk.Reference(pfet, (36.92,1.68), rotation=pi, x_reflection=True))
load_x10.add(gdstk.Reference(pfet_1, (36.92,1.68), rotation=pi, x_reflection=True))
load_x10.add(gdstk.Reference(pfet_1, (37.73,1.68), rotation=pi, x_reflection=True))
load_x10.add(gdstk.Reference(pfet_1, (38.54,1.68), rotation=pi, x_reflection=True))
load_x10.add(gdstk.Reference(vias_gen_5, (21.6,-0.82)))
load_x10.add(gdstk.Reference(nfet, (22.295,-3.735), rotation=pi, x_reflection=True))
load_x10.add(gdstk.Reference(nfet, (22.295,-3.735), rotation=pi, x_reflection=True))
load_x10.add(gdstk.Reference(nfet, (22.295,-3.735), rotation=pi, x_reflection=True))
load_x10.add(gdstk.Reference(nfet, (22.295,-3.735), rotation=pi, x_reflection=True))
load_x10.add(gdstk.Reference(vias_gen_6, (33.1,1.75), rotation=pi/2))
load_x10.add(gdstk.Reference(vias_gen_6, (29.77,1.75), rotation=pi/2))
load_x10.add(gdstk.Reference(vias_gen_6, (26.43,1.75), rotation=pi/2))
load_x10.add(gdstk.Reference(vias_gen_6, (34.72,1.75), rotation=pi/2))
load_x10.add(gdstk.Reference(vias_gen_6, (38.06,1.75), rotation=pi/2))
load_x10.add(gdstk.Reference(vias_gen_6, (36.44,1.75), rotation=pi/2))
load_x10.add(gdstk.Reference(vias_gen_6, (23.1,1.75), rotation=pi/2))
load_x10.add(gdstk.Reference(vias_gen_6, (24.72,1.75), rotation=pi/2))
load_x10.add(gdstk.Reference(vias_gen_6, (28.05,1.75), rotation=pi/2))
load_x10.add(gdstk.Reference(vias_gen_6, (31.39,1.75), rotation=pi/2))
load_x10.add(gdstk.Reference(vias_gen_6, (16.43,1.75), rotation=pi/2))
load_x10.add(gdstk.Reference(vias_gen_6, (11.38,1.75), rotation=pi/2))
load_x10.add(gdstk.Reference(vias_gen_6, (8.04,1.75), rotation=pi/2))
load_x10.add(gdstk.Reference(vias_gen_6, (9.76,1.75), rotation=pi/2))
load_x10.add(gdstk.Reference(vias_gen_6, (14.71,1.75), rotation=pi/2))
load_x10.add(gdstk.Reference(vias_gen_6, (6.42,1.75), rotation=pi/2))
load_x10.add(gdstk.Reference(vias_gen_6, (13.09,1.75), rotation=pi/2))
load_x10.add(gdstk.Reference(vias_gen_6, (19.76,1.75), rotation=pi/2))
load_x10.add(gdstk.Reference(vias_gen_6, (21.38,1.75), rotation=pi/2))
load_x10.add(gdstk.Reference(vias_gen_6, (18.05,1.75), rotation=pi/2))
load_x10.add(gdstk.Reference(nfet, (6.905,-3.735), rotation=pi, x_reflection=True))
load_x10.add(gdstk.Reference(vias_gen_2, (8.04,-3.55), rotation=pi/2))
load_x10.add(gdstk.Reference(nfet, (10.955,-3.735), rotation=pi, x_reflection=True))
load_x10.add(gdstk.Reference(nfet, (9.335,-3.735), rotation=pi, x_reflection=True))
load_x10.add(gdstk.Reference(vias_gen_2, (6.42,-3.55), rotation=pi/2))
load_x10.add(gdstk.Reference(vias_gen_2, (8.04,-3.55), rotation=pi/2))
load_x10.add(gdstk.Reference(nfet, (10.145,-3.735), rotation=pi, x_reflection=True))
load_x10.add(gdstk.Reference(vias_gen_2, (11.28,-3.55), rotation=pi/2))
load_x10.add(gdstk.Reference(vias_gen_2, (9.66,-3.55), rotation=pi/2))
load_x10.add(gdstk.Reference(vias_gen_2, (8.04,-3.55), rotation=pi/2))
load_x10.add(gdstk.Reference(nfet, (9.335,-3.735), rotation=pi, x_reflection=True))
load_x10.add(gdstk.Reference(nfet, (8.525,-3.735), rotation=pi, x_reflection=True))
load_x10.add(gdstk.Reference(vias_gen_2, (9.66,-3.55), rotation=pi/2))
load_x10.add(gdstk.Reference(vias_gen_2, (8.04,-3.55), rotation=pi/2))
load_x10.add(gdstk.Reference(nfet, (10.955,-3.735), rotation=pi, x_reflection=True))
load_x10.add(gdstk.Reference(nfet, (10.145,-3.735), rotation=pi, x_reflection=True))
load_x10.add(gdstk.Reference(vias_gen_2, (11.28,-3.55), rotation=pi/2))
load_x10.add(gdstk.Reference(vias_gen_2, (9.66,-3.55), rotation=pi/2))
load_x10.add(gdstk.Reference(vias_gen_2, (11.28,-3.55), rotation=pi/2))
load_x10.add(gdstk.Reference(nfet, (12.575,-3.735), rotation=pi, x_reflection=True))
load_x10.add(gdstk.Reference(nfet, (11.765,-3.735), rotation=pi, x_reflection=True))
load_x10.add(gdstk.Reference(vias_gen_2, (12.9,-3.55), rotation=pi/2))
load_x10.add(gdstk.Reference(vias_gen_2, (11.28,-3.55), rotation=pi/2))
load_x10.add(gdstk.Reference(nfet, (14.195,-3.735), rotation=pi, x_reflection=True))
load_x10.add(gdstk.Reference(nfet, (13.385,-3.735), rotation=pi, x_reflection=True))
load_x10.add(gdstk.Reference(vias_gen_2, (14.52,-3.55), rotation=pi/2))
load_x10.add(gdstk.Reference(vias_gen_2, (12.9,-3.55), rotation=pi/2))
load_x10.add(gdstk.Reference(vias_gen_2, (11.28,-3.55), rotation=pi/2))
load_x10.add(gdstk.Reference(nfet, (12.575,-3.735), rotation=pi, x_reflection=True))
load_x10.add(gdstk.Reference(nfet, (11.765,-3.735), rotation=pi, x_reflection=True))
load_x10.add(gdstk.Reference(vias_gen_2, (12.9,-3.55), rotation=pi/2))
load_x10.add(gdstk.Reference(vias_gen_2, (11.28,-3.55), rotation=pi/2))
load_x10.add(gdstk.Reference(nfet, (14.195,-3.735), rotation=pi, x_reflection=True))
load_x10.add(gdstk.Reference(nfet, (13.385,-3.735), rotation=pi, x_reflection=True))
load_x10.add(gdstk.Reference(vias_gen_2, (14.52,-3.55), rotation=pi/2))
load_x10.add(gdstk.Reference(vias_gen_2, (12.9,-3.55), rotation=pi/2))
load_x10.add(gdstk.Reference(vias_gen_2, (14.52,-3.55), rotation=pi/2))
load_x10.add(gdstk.Reference(nfet, (15.815,-3.735), rotation=pi, x_reflection=True))
load_x10.add(gdstk.Reference(nfet, (15.005,-3.735), rotation=pi, x_reflection=True))
load_x10.add(gdstk.Reference(vias_gen_2, (16.14,-3.55), rotation=pi/2))
load_x10.add(gdstk.Reference(vias_gen_2, (14.52,-3.55), rotation=pi/2))
load_x10.add(gdstk.Reference(nfet, (17.435,-3.735), rotation=pi, x_reflection=True))
load_x10.add(gdstk.Reference(nfet, (16.625,-3.735), rotation=pi, x_reflection=True))
load_x10.add(gdstk.Reference(vias_gen_2, (17.76,-3.55), rotation=pi/2))
load_x10.add(gdstk.Reference(vias_gen_2, (16.14,-3.55), rotation=pi/2))
load_x10.add(gdstk.Reference(vias_gen_2, (14.52,-3.55), rotation=pi/2))
load_x10.add(gdstk.Reference(nfet, (15.815,-3.735), rotation=pi, x_reflection=True))
load_x10.add(gdstk.Reference(nfet, (15.005,-3.735), rotation=pi, x_reflection=True))
load_x10.add(gdstk.Reference(vias_gen_2, (16.14,-3.55), rotation=pi/2))
load_x10.add(gdstk.Reference(vias_gen_2, (14.52,-3.55), rotation=pi/2))
load_x10.add(gdstk.Reference(nfet, (17.435,-3.735), rotation=pi, x_reflection=True))
load_x10.add(gdstk.Reference(nfet, (16.625,-3.735), rotation=pi, x_reflection=True))
load_x10.add(gdstk.Reference(vias_gen_2, (17.76,-3.55), rotation=pi/2))
load_x10.add(gdstk.Reference(vias_gen_2, (16.14,-3.55), rotation=pi/2))
load_x10.add(gdstk.Reference(vias_gen_2, (17.76,-3.55), rotation=pi/2))
load_x10.add(gdstk.Reference(nfet, (19.055,-3.735), rotation=pi, x_reflection=True))
load_x10.add(gdstk.Reference(nfet, (18.245,-3.735), rotation=pi, x_reflection=True))
load_x10.add(gdstk.Reference(vias_gen_2, (19.38,-3.55), rotation=pi/2))
load_x10.add(gdstk.Reference(vias_gen_2, (17.76,-3.55), rotation=pi/2))
load_x10.add(gdstk.Reference(nfet, (20.675,-3.735), rotation=pi, x_reflection=True))
load_x10.add(gdstk.Reference(nfet, (19.865,-3.735), rotation=pi, x_reflection=True))
load_x10.add(gdstk.Reference(vias_gen_2, (21,-3.55), rotation=pi/2))
load_x10.add(gdstk.Reference(vias_gen_2, (19.38,-3.55), rotation=pi/2))
load_x10.add(gdstk.Reference(vias_gen_2, (17.76,-3.55), rotation=pi/2))
load_x10.add(gdstk.Reference(nfet, (19.055,-3.735), rotation=pi, x_reflection=True))
load_x10.add(gdstk.Reference(nfet, (18.245,-3.735), rotation=pi, x_reflection=True))
load_x10.add(gdstk.Reference(vias_gen_2, (19.38,-3.55), rotation=pi/2))
load_x10.add(gdstk.Reference(vias_gen_2, (17.76,-3.55), rotation=pi/2))
load_x10.add(gdstk.Reference(nfet, (20.675,-3.735), rotation=pi, x_reflection=True))
load_x10.add(gdstk.Reference(nfet, (19.865,-3.735), rotation=pi, x_reflection=True))
load_x10.add(gdstk.Reference(vias_gen_2, (21,-3.55), rotation=pi/2))
load_x10.add(gdstk.Reference(vias_gen_2, (19.38,-3.55), rotation=pi/2))
load_x10.add(gdstk.Reference(nfet, (20.675,-3.735), rotation=pi, x_reflection=True))
load_x10.add(gdstk.Reference(nfet, (19.865,-3.735), rotation=pi, x_reflection=True))
load_x10.add(gdstk.Reference(vias_gen_2, (21,-3.55), rotation=pi/2))
load_x10.add(gdstk.Reference(nfet, (20.675,-3.735), rotation=pi, x_reflection=True))
load_x10.add(gdstk.Reference(nfet, (19.865,-3.735), rotation=pi, x_reflection=True))
load_x10.add(gdstk.Reference(vias_gen_2, (21,-3.55), rotation=pi/2))
load_x10.add(gdstk.Reference(vias_gen_2, (21,-3.55), rotation=pi/2))
load_x10.add(gdstk.Reference(nfet, (7.715,-3.735), rotation=pi, x_reflection=True))
load_x10.add(gdstk.Reference(nfet, (21.485,-3.735), rotation=pi, x_reflection=True))
load_x10.add(gdstk.Reference(vias_gen_2, (21,-3.55), rotation=pi/2))
load_x10.add(gdstk.Reference(vias_gen_2, (21,-3.55), rotation=pi/2))
load_x10.add(gdstk.Reference(nfet, (8.525,-3.735), rotation=pi, x_reflection=True))
load_x10.add(gdstk.Reference(nfet, (21.485,-3.735), rotation=pi, x_reflection=True))
load_x10.add(gdstk.Reference(vias_gen_2, (21,-3.55), rotation=pi/2))
load_x10.add(gdstk.Reference(nfet, (21.485,-3.735), rotation=pi, x_reflection=True))
load_x10.add(gdstk.Reference(vias_gen_2, (9.66,-3.55), rotation=pi/2))
load_x10.add(gdstk.Reference(nfet, (21.485,-3.735), rotation=pi, x_reflection=True))
load_x10.add(gdstk.Reference(vias_gen, (17.46,0.17)))
load_x10.add(gdstk.Reference(vias_gen, (14.12,0.17)))
load_x10.add(gdstk.Reference(vias_gen, (19.17,0.17)))
load_x10.add(gdstk.Reference(vias_gen, (20.79,0.17)))
load_x10.add(gdstk.Reference(vias_gen_5, (18.265,-0.82)))
load_x10.add(gdstk.Reference(vias_gen_5, (16.645,-0.82)))
load_x10.add(gdstk.Reference(vias_gen_5, (14.93,-0.82)))
load_x10.add(gdstk.Reference(vias_gen_5, (19.98,-0.82)))
load_x10.add(gdstk.Reference(vias_gen_5, (13.31,-0.82)))
load_x10.add(gdstk.Reference(vias_gen, (15.84,0.17)))
load_x10.add(gdstk.Reference(vias_gen, (15.84,0.17)))
load_x10.add(gdstk.Reference(vias_gen, (17.46,0.17)))
load_x10.add(gdstk.Reference(vias_gen_5, (8.26,-0.82)))
load_x10.add(gdstk.Reference(vias_gen, (5.83,0.17)))
load_x10.add(gdstk.Reference(vias_gen, (9.17,0.17)))
load_x10.add(gdstk.Reference(vias_gen, (10.79,0.17)))
load_x10.add(gdstk.Reference(vias_gen_5, (5.02,-0.82)))
load_x10.add(gdstk.Reference(vias_gen_5, (11.595,-0.82)))
load_x10.add(gdstk.Reference(vias_gen_5, (9.975,-0.82)))
load_x10.add(gdstk.Reference(vias_gen, (9.17,0.17)))
load_x10.add(gdstk.Reference(vias_gen_5, (6.64,-0.82)))
load_x10.add(gdstk.Reference(vias_gen, (10.79,0.17)))
load_x10.add(gdstk.Reference(vias_gen, (12.5,0.17)))
load_x10.add(gdstk.Reference(vias_gen, (7.45,0.17)))
load_x10.add(gdstk.Reference(vias_gen_5, (36.655,-0.82)))
load_x10.add(gdstk.Reference(vias_gen, (29.18,0.17)))
load_x10.add(gdstk.Reference(vias_gen, (30.8,0.17)))
load_x10.add(gdstk.Reference(vias_gen, (32.51,0.17)))
load_x10.add(gdstk.Reference(vias_gen, (34.13,0.17)))
load_x10.add(gdstk.Reference(vias_gen, (35.85,0.17)))
load_x10.add(gdstk.Reference(vias_gen, (37.47,0.17)))
load_x10.add(gdstk.Reference(vias_gen, (35.85,0.17)))
load_x10.add(gdstk.Reference(vias_gen, (37.47,0.17)))
load_x10.add(gdstk.Reference(vias_gen, (22.51,0.17)))
load_x10.add(gdstk.Reference(vias_gen, (24.13,0.17)))
load_x10.add(gdstk.Reference(vias_gen, (22.51,0.17)))
load_x10.add(gdstk.Reference(vias_gen, (24.13,0.17)))
load_x10.add(gdstk.Reference(vias_gen, (25.84,0.17)))
load_x10.add(gdstk.Reference(vias_gen, (27.46,0.17)))
load_x10.add(gdstk.Reference(vias_gen, (29.18,0.17)))
load_x10.add(gdstk.Reference(vias_gen, (30.8,0.17)))
load_x10.add(gdstk.Reference(vias_gen_2, (22.62,-3.55), rotation=pi/2))
load_x10.add(gdstk.Reference(vias_gen_5, (24.935,-0.82)))
load_x10.add(gdstk.Reference(vias_gen_5, (23.315,-0.82)))
load_x10.add(gdstk.Reference(vias_gen_5, (28.27,-0.82)))
load_x10.add(gdstk.Reference(vias_gen_5, (26.65,-0.82)))
load_x10.add(gdstk.Reference(vias_gen_2, (22.62,-3.55), rotation=pi/2))
load_x10.add(gdstk.Reference(vias_gen_5, (31.605,-0.82)))
load_x10.add(gdstk.Reference(vias_gen_5, (29.985,-0.82)))
load_x10.add(gdstk.Reference(vias_gen_5, (34.94,-0.82)))
load_x10.add(gdstk.Reference(vias_gen_2, (22.62,-3.55), rotation=pi/2))
load_x10.add(gdstk.Reference(vias_gen_5, (33.32,-0.82)))
load_x10.add(gdstk.Reference(vias_gen_5, (38.275,-0.82)))
load_x10.add(gdstk.Reference(vias_gen_2, (22.62,-3.55), rotation=pi/2))
load_x10.add(gdstk.Label('VDD', (7.225,7.57), layer=69, texttype=5))
load_x10.add(gdstk.Label('AB', (7.715,6.775), layer=69, texttype=5))
load_x10.add(gdstk.Label('In', (4.535,-0.635), layer=69, texttype=5))
load_x10.add(gdstk.Label('A', (6.95,-4.14), layer=69, texttype=5))
load_x10.add(gdstk.Label('VSS', (5.455,-4.8), layer=69, texttype=5))
load_x10.add(gdstk.Label('Out', (39.15,0.525), layer=69, texttype=5))

lib.write_gds('load_x10.gds')
